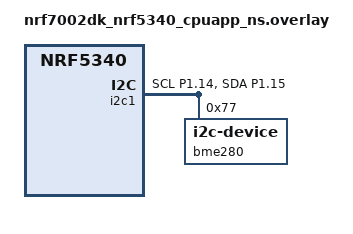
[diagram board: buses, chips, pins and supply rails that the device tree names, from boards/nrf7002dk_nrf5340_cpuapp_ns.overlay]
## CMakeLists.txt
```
# SPDX-License-Identifier: Apache-2.0

cmake_minimum_required(VERSION 3.20.0)

find_package(Zephyr REQUIRED HINTS $ENV{ZEPHYR_BASE})
project(lab0_blinky)

target_include_directories(app PRIVATE include)

target_sources(app PRIVATE src/main.c)

if(CONFIG_SUM_PRINT)
  target_sources(app PRIVATE src/sum_printk/sum_printk.c)
endif()

if(CONFIG_SUM_LOG)
  target_sources(app PRIVATE src/sum_log/sum_log.c)
endif()
```

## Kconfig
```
mainmenu "Lab 0"

choice SUM_OUTPUT
    prompt "sum output method"
    default SUM_PRINT

config SUM_PRINT
    bool "Use printk for sum output"

config SUM_LOG
    bool "Use logging for sum output"

endchoice

source "Kconfig.zephyr"
```

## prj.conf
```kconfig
CONFIG_CONSOLE=y
CONFIG_UART_CONSOLE=y
CONFIG_LOG=y
CONFIG_LOG_DEFAULT_LEVEL=3
CONFIG_LOG_MODE_IMMEDIATE=y
CONFIG_SUM_PRINT=y
# CONFIG_SUM_LOG=y
CONFIG_SENSOR=y
CONFIG_I2C=y
CONFIG_CBPRINTF_FP_SUPPORT=y
CONFIG_TFM_LOG_LEVEL_SILENCE=y
CONFIG_TFM_SECURE_UART=n
```

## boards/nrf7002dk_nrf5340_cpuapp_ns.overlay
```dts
/* Lab handout appendix: direct boot without MCUboot on NCS 3.4.0. */
/delete-node/ &boot_partition;
/delete-node/ &slot0_partition;
/delete-node/ &slot1_partition;

&flash0 {
    partitions {
        slot0_partition: partition@0 {
            compatible = "zephyr,mapped-partition";
            label = "image-0";
            reg = <0x00000000 0xf0000>;
            ranges = <0x0 0x0 0xf0000>;
            #address-cells = <1>;
            #size-cells = <1>;

            slot0_s_partition: partition@0 {
                compatible = "zephyr,mapped-partition";
                label = "image-0-secure";
                reg = <0x00000000 0x40000>;
            };

            slot0_ns_partition: partition@40000 {
                compatible = "zephyr,mapped-partition";
                label = "image-0-nonsecure";
                reg = <0x00040000 0xb0000>;
            };
        };
    };
};

/ {
    aliases {
        led5180 = &led1;
    };
};

/ {
    aliases {
        led5180 = &led1;
        button5180 = &button0;
    };
};

&i2c1 {
    status = "okay";
    pinctrl-0 = <&i2c1_default>;
    pinctrl-1 = <&i2c1_sleep>;
    pinctrl-names = "default", "sleep";

    bme280: bme280@77 {
        compatible = "i2c-device";
        status = "okay";
        reg = <0x77>;
    };
};

&pinctrl {
    /omit-if-no-ref/ i2c1_default: i2c1_default {
        group1 {
            psels = <NRF_PSEL(TWIM_SCL, 1, 14)>,
                    <NRF_PSEL(TWIM_SDA, 1, 15)>;
        };
    };

    /omit-if-no-ref/ i2c1_sleep: i2c1_sleep {
        group1 {
            psels = <NRF_PSEL(TWIM_SCL, 1, 14)>,
                    <NRF_PSEL(TWIM_SDA, 1, 15)>;
            low-power-enable;
        };
    };
};
```

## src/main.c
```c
#include <zephyr/kernel.h>
#include <zephyr/device.h>
#include <zephyr/drivers/i2c.h>
#include <zephyr/sys/printk.h>
#include <stdint.h>

#define BME280_NODE DT_NODELABEL(bme280)
#define BME280_CHIP_ID_REG 0xD0
#define BME280_CTRL_MEAS_REG 0xF4
#define BME280_TEMP_MSB_REG 0xFA
#define BME280_CALIB00_REG 0x88

static const struct i2c_dt_spec bme280 = I2C_DT_SPEC_GET(BME280_NODE);

struct bme280_calib {
    uint16_t dig_t1;
    int16_t dig_t2;
    int16_t dig_t3;
};

static uint16_t u16_le(const uint8_t *buf)
{
    return (uint16_t)buf[0] | ((uint16_t)buf[1] << 8);
}

static int16_t s16_le(const uint8_t *buf)
{
    return (int16_t)u16_le(buf);
}

static int bme280_read_calibration(struct bme280_calib *calib)
{
    uint8_t buf[6];
    int ret = i2c_burst_read_dt(&bme280, BME280_CALIB00_REG, buf, sizeof(buf));

    if (ret < 0) {
        return ret;
    }

    calib->dig_t1 = u16_le(&buf[0]);
    calib->dig_t2 = s16_le(&buf[2]);
    calib->dig_t3 = s16_le(&buf[4]);

    return 0;
}

static int bme280_start_temperature_measurement(void)
{
    /* osrs_t=x1, osrs_p=skipped, mode=normal */
    return i2c_reg_write_byte_dt(&bme280, BME280_CTRL_MEAS_REG, 0x23);
}

static int bme280_read_raw_temperature(int32_t *raw_temp)
{
    uint8_t buf[3];
    int ret = i2c_burst_read_dt(&bme280, BME280_TEMP_MSB_REG, buf, sizeof(buf));

    if (ret < 0) {
        return ret;
    }

    *raw_temp = ((int32_t)buf[0] << 12) | ((int32_t)buf[1] << 4) | (buf[2] >> 4);
    return 0;
}

static int32_t bme280_compensate_temperature_centi_c(const struct bme280_calib *calib,
                                                     int32_t adc_t)
{
    int32_t var1 = ((((adc_t >> 3) - ((int32_t)calib->dig_t1 << 1))) *
                    ((int32_t)calib->dig_t2)) >> 11;
    int32_t var2 = (((((adc_t >> 4) - ((int32_t)calib->dig_t1)) *
                      ((adc_t >> 4) - ((int32_t)calib->dig_t1))) >> 12) *
                    ((int32_t)calib->dig_t3)) >> 14;
    int32_t t_fine = var1 + var2;

    return (t_fine * 5 + 128) >> 8;
}

int main(void)
{
    struct bme280_calib calib;
    int ret;

    printk("BME280 test starting\n");
    printk("BME280 bus: %s\n", bme280.bus->name);
    printk("BME280 addr: 0x%02x\n", bme280.addr);

    if (!device_is_ready(bme280.bus)) {
        printk("I2C bus is not ready\n");
        return 0;
    }

    uint8_t chip_id = 0;
    ret = i2c_reg_read_byte_dt(&bme280, BME280_CHIP_ID_REG, &chip_id);
    if (ret < 0) {
        printk("Failed to read BME280 chip id: %d\n", ret);
        return 0;
    }
    printk("BME280 chip id: 0x%02x\n", chip_id);

    ret = bme280_read_calibration(&calib);
    if (ret < 0) {
        printk("Failed to read BME280 calibration: %d\n", ret);
        return 0;
    }
    printk("BME280 calib T1=%u T2=%d T3=%d\n",
           calib.dig_t1, calib.dig_t2, calib.dig_t3);

    ret = bme280_start_temperature_measurement();
    if (ret < 0) {
        printk("Failed to start BME280 measurement: %d\n", ret);
        return 0;
    }

    while (1) {
        int32_t raw_temp = 0;

        ret = bme280_read_raw_temperature(&raw_temp);
        if (ret < 0) {
            printk("Failed to read BME280 temperature: %d\n", ret);
        } else {
            int32_t temp_centi_c =
                bme280_compensate_temperature_centi_c(&calib, raw_temp);

            printk("BME280 raw temp: %d\n", raw_temp);
            printk("BME280 temperature: %d.%02d C\n",
                   temp_centi_c / 100, temp_centi_c % 100);
        }

        k_sleep(K_SECONDS(2));
    }

    return 0;
}
```

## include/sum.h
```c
#ifndef SUM_H
#define SUM_H

int sum(int a, int b);
void sum_output(int a, int b);

#endif
```
